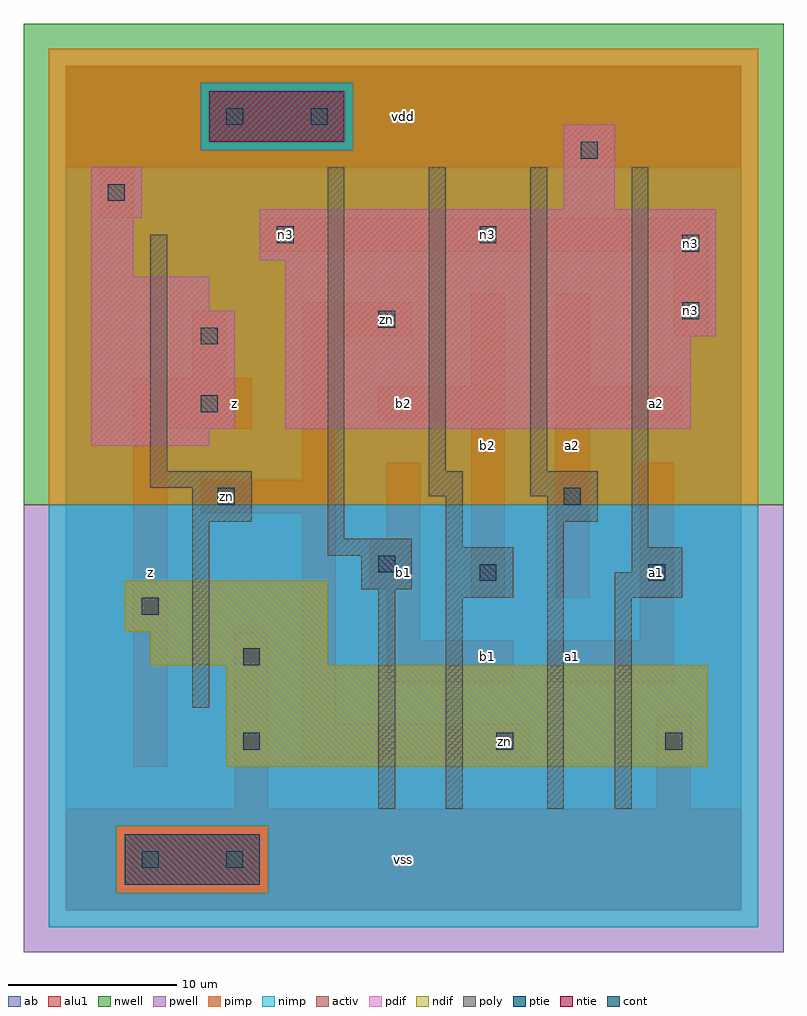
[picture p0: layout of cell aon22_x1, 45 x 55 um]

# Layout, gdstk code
import gdstk
lib = gdstk.Library(unit=1e-6, precision=1e-09)
def R(c, l, rs):  # rectangles x0, y0, x1, y1
    for r in rs: c.add(gdstk.rectangle(r[:2], r[2:], *l))
ndif = (3, 0)
pdif = (4, 0)
ntie = (5, 0)
ptie = (6, 0)
cont = (25, 0)
pwell = (41, 0)
nwell = (42, 0)
activ = (43, 0)
pimp = (44, 0)
nimp = (45, 0)
poly = (46, 0)
alu1 = (49, 0)
ab = (63, 0)

aon22_x1 = lib.new_cell('aon22_x1')
R(aon22_x1, ndif, [(9.5,8.5,38,14.5), (5,14.5,15.5,16.5), (3.5,16.5,15.5,19.5)])
R(aon22_x1, pdif, [(1.5,27.5,8.5,28.5), (1.5,28.5,10,35.5), (13,28.5,37,34), (13,34,38.5,38.5), (1.5,35.5,8.5,37.5), (1.5,37.5,4,41), (11.5,38.5,38.5,41.5), (1.5,41,4.5,44), (29.5,41.5,32.5,46.5)])
R(aon22_x1, ntie, [(8.5,45.5,16.5,48.5)])
R(aon22_x1, ptie, [(3.5,1.5,11.5,4.5)])
R(aon22_x1, cont, [(4.5,2.5,5.5,3.5), (9.5,2.5,10.5,3.5), (10.5,9.5,11.5,10.5), (25.5,9.5,26.5,10.5), (35.5,9.5,36.5,10.5), (10.5,14.5,11.5,15.5), (4.5,17.5,5.5,18.5), (24.5,19.5,25.5,20.5), (34.5,19.5,35.5,20.5), (18.5,20,19.5,21), (9,24,10,25), (29.5,24,30.5,25), (8,29.5,9,30.5), (8,33.5,9,34.5), (18.5,34.5,19.5,35.5), (36.5,35,37.5,36), (36.5,39,37.5,40), (12.5,39.5,13.5,40.5), (24.5,39.5,25.5,40.5), (2.5,42,3.5,43), (30.5,44.5,31.5,45.5), (9.5,46.5,10.5,47.5), (14.5,46.5,15.5,47.5)])
R(aon22_x1, pwell, [(-2.5,-2.5,42.5,24)])
R(aon22_x1, nwell, [(-2.5,24,42.5,52.5)])
R(aon22_x1, activ, [(3.5,1.5,11.5,4.5), (9.5,8.5,38,14.5), (5,14.5,15.5,16.5), (3.5,16.5,15.5,19.5), (1.5,27.5,8.5,28.5), (1.5,28.5,10,35.5), (13,28.5,37,34), (13,34,38.5,38.5), (1.5,35.5,8.5,37.5), (1.5,37.5,4,41), (11.5,38.5,38.5,41.5), (1.5,41,4.5,44), (29.5,41.5,32.5,46.5), (8.5,45.5,16.5,48.5)])
R(aon22_x1, pimp, [(3,1,12,5), (-1,24,41,45), (-1,45,8,49), (17,45,41,49), (-1,49,41,51)])
R(aon22_x1, nimp, [(-1,-1,41,1), (-1,1,3,5), (12,1,41,5), (-1,5,41,24), (8,45,17,49)])
R(aon22_x1, poly, [(18.5,6,19.5,19), (22.5,6,23.5,18.5), (28.5,6,29.5,23), (32.5,6,33.5,18.5), (7.5,12,8.5,23), (22.5,18.5,26.5,21.5), (32.5,18.5,36.5,20), (17.5,19,20.5,21), (33.5,20,36.5,21.5), (15.5,21,20.5,22), (22.5,21.5,23.5,24.5), (33.5,21.5,34.5,44), (15.5,22,16.5,44), (7.5,23,11,25), (28.5,23,31.5,24.5), (21.5,24.5,23.5,26), (27.5,24.5,31.5,26), (5,25,11,26), (5,26,6,40), (21.5,26,22.5,44), (27.5,26,28.5,44)])
R(aon22_x1, alu1, [(0,0,40,6), (0,0,40,6), (10,6,12,16.5), (10,6,12,16.5), (35,6,37,11.5), (35,6,37,11.5), (4,8.5,6,28.5), (4,8.5,6,28.5), (14,9,27.5,11), (14,9,27.5,11), (14,11,16,23.5), (14,11,16,23.5), (19,13.5,26.5,16), (19,13.5,26.5,16), (28.5,13.5,36,16), (28.5,13.5,36,16), (19,16,21,19), (19,16,21,19), (34,16,36,26.5), (34,16,36,26.5), (24,18.5,26,29), (24,18.5,26,29), (29,18.5,31,29), (29,18.5,31,29), (18,19,21,22), (18,19,21,22), (19,22,21,26.5), (19,22,21,26.5), (8,23.5,16,25.5), (8,23.5,16,25.5), (14,25.5,16,34), (14,25.5,16,34), (4,28.5,11,31.5), (4,28.5,11,31.5), (18.5,29,26,31), (18.5,29,26,31), (29,29,36.5,31), (29,29,36.5,31), (24,31,26,36.5), (24,31,26,36.5), (29,31,31,36.5), (29,31,31,36.5), (7.5,31.5,9.5,35.5), (7.5,31.5,9.5,35.5), (14,34,20.5,36), (14,34,20.5,36), (36,34,38,39), (36,34,38,39), (11.5,39,38,41), (11.5,39,38,41), (2,41,4,44), (2,41,4,44), (0,44,40,50), (0,44,40,50)])
R(aon22_x1, ab, [(0,0,40,50)])
aon22_x1.add(gdstk.Label('zn', (9.5,24.5), layer=49, texttype=0))
aon22_x1.add(gdstk.Label('n3', (13,40), layer=49, texttype=0))
aon22_x1.add(gdstk.Label('zn', (26,10), layer=49, texttype=0))
aon22_x1.add(gdstk.Label('zn', (19,35), layer=49, texttype=0))
aon22_x1.add(gdstk.Label('n3', (25,40), layer=49, texttype=0))
aon22_x1.add(gdstk.Label('n3', (37,35.5), layer=49, texttype=0))
aon22_x1.add(gdstk.Label('n3', (37,39.5), layer=49, texttype=0))
aon22_x1.add(gdstk.Label('z', (5,20), layer=49, texttype=0))
aon22_x1.add(gdstk.Label('z', (10,30), layer=49, texttype=0))
aon22_x1.add(gdstk.Label('vss', (20,3), layer=49, texttype=0))
aon22_x1.add(gdstk.Label('b1', (20,20), layer=49, texttype=0))
aon22_x1.add(gdstk.Label('b1', (25,15), layer=49, texttype=0))
aon22_x1.add(gdstk.Label('b2', (20,30), layer=49, texttype=0))
aon22_x1.add(gdstk.Label('b2', (25,27.5), layer=49, texttype=0))
aon22_x1.add(gdstk.Label('vdd', (20,47), layer=49, texttype=0))
aon22_x1.add(gdstk.Label('a1', (30,15), layer=49, texttype=0))
aon22_x1.add(gdstk.Label('a1', (35,20), layer=49, texttype=0))
aon22_x1.add(gdstk.Label('a2', (30,27.5), layer=49, texttype=0))
aon22_x1.add(gdstk.Label('a2', (35,30), layer=49, texttype=0))

lib.write_gds('aon22_x1.gds')
